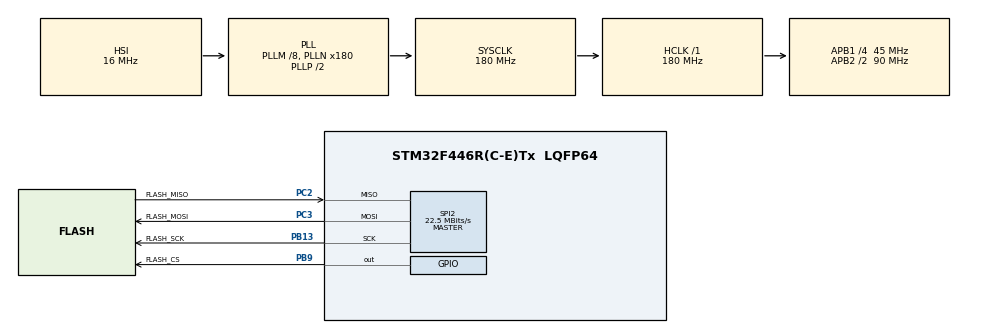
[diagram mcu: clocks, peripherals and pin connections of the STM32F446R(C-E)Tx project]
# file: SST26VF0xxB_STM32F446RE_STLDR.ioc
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Mcu.Family=STM32F4
Mcu.Name=STM32F446R(C-E)Tx
Mcu.Package=LQFP64
NVIC.PriorityGroup=NVIC_PRIORITYGROUP_0
PA13.GPIO_Label=SWDIO
PA13.Mode=Serial_Wire
PA13.Signal=SYS_JTMS-SWDIO
PA14.GPIO_Label=SWCLK
PA14.Mode=Serial_Wire
PA14.Signal=SYS_JTCK-SWCLK
PB13.GPIO_Label=FLASH_SCK
PB13.GPIO_PuPd=GPIO_PULLDOWN
PB13.Mode=Full_Duplex_Master
PB13.Signal=SPI2_SCK
PB9.GPIO_Label=FLASH_CS
PB9.GPIO_Speed=GPIO_SPEED_FREQ_VERY_HIGH
PB9.PinState=GPIO_PIN_SET
PB9.Signal=GPIO_Output
PC2.GPIO_Label=FLASH_MISO
PC2.GPIO_PuPd=GPIO_PULLDOWN
PC2.Mode=Full_Duplex_Master
PC2.Signal=SPI2_MISO
PC3.GPIO_Label=FLASH_MOSI
PC3.GPIO_PuPd=GPIO_PULLDOWN
PC3.Mode=Full_Duplex_Master
PC3.Signal=SPI2_MOSI
ProjectManager.HeapSize=0x200
ProjectManager.StackSize=0x400
ProjectManager.TargetToolchain=STM32CubeIDE
RCC.AHBFreq_Value=180000000
RCC.APB1CLKDivider=RCC_HCLK_DIV4
RCC.APB1Freq_Value=45000000
RCC.APB1TimFreq_Value=90000000
RCC.APB2CLKDivider=RCC_HCLK_DIV2
RCC.APB2Freq_Value=90000000
RCC.APB2TimFreq_Value=180000000
RCC.CortexFreq_Value=180000000
RCC.FLatency-AdvancedSettings=FLASH_LATENCY_5
RCC.HCLKFreq_Value=180000000
RCC.HSE_VALUE=8000000
RCC.HSI_VALUE=16000000
RCC.LSE_VALUE=32768
RCC.PLLM=8
RCC.PLLN=180
RCC.SYSCLKFreq_VALUE=180000000
RCC.SYSCLKSource=RCC_SYSCLKSOURCE_PLLCLK
RCC.USBFreq_Value=180000000
RCC.VCOOutputFreq_Value=360000000
SPI2.BaudRatePrescaler=SPI_BAUDRATEPRESCALER_2
SPI2.CalculateBaudRate=22.5 MBits/s
SPI2.Direction=SPI_DIRECTION_2LINES
SPI2.Mode=SPI_MODE_MASTER
SPI2.VirtualType=VM_MASTER
board=NUCLEO-F446RE

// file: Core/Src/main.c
/* USER CODE BEGIN Header */
/**
  ******************************************************************************
  * @file           : main.c
  * @brief          : Main program body
  ******************************************************************************
  * @attention
  *
  * <h2><center>&copy; Copyright (c) 2020 STMicroelectronics.
  * All rights reserved.</center></h2>
  *
  * This software component is licensed by ST under BSD 3-Clause license,
  * the "License"; You may not use this file except in compliance with the
  * License. You may obtain a copy of the License at:
  *                        opensource.org/licenses/BSD-3-Clause
  *
  ******************************************************************************
  * Ref. to https://github.com/STMicroelectronics/stm32-external-loader
  * Ref. to https://www.st.com/content/st_com/en/support/learning/stm32-education/stm32-moocs/external_QSPI_loader.html
  * Ref. to https://github.com/STMicroelectronics/stm32-external-loader/tree/contrib
  */
/* USER CODE END Header */
#include "main.h"
#include "spi.h"
#include "gpio.h"

/* USER CODE BEGIN Includes */
#include <string.h>
#include "SST26.h"
//#include "../SST26VF0xxB_SPI/SST26.h"
/* USER CODE END Includes */

/* USER CODE BEGIN PV */
extern unsigned char image_test[57600];

uint8_t sector_data[sFLASH_SPI_SECTOR_SIZE];
uint32_t errorCount;
/* USER CODE END PV */

void SystemClock_Config(void);

/* USER CODE BEGIN 0 */
int	my_memcmp(void *dest, void *src, int size)
{
    unsigned char *p = dest;
    unsigned char *q = src;

    while (size > 0)
    {
        if (*p != *q)
        {
            return (*p - *q);
        }
        size--;
        p++;
        q++;
    }
    return 0;
}
/* USER CODE END 0 */

int main(void)
{
  /* USER CODE BEGIN 1 */
  uint32_t sectorsNeeded = 0;
  uint32_t currentSector = 0;
  uint32_t remainingBytes = 0;
  /* USER CODE END 1 */

  /* MCU Configuration--------------------------------------------------------*/

  /* Reset of all peripherals, Initializes the Flash interface and the Systick. */
  HAL_Init();

  /* Configure the system clock */
  SystemClock_Config();

  /* Initialize all configured peripherals */
  MX_GPIO_Init();
  MX_SPI2_Init();
  /* USER CODE BEGIN 2 */

  /*
   * In this part the flash management primitives is verified
   */
  /* 1 - Verify that the identifier is correctly read
  if(sFLASH_MX25L6433F_ID != sFLASH_ReadID())
  {
    Error_Handler();
  } */

  if (!sFLASH_ReadID()) while(1);

	uint8_t rxData[20];

   sFLASH_ReadBlockProtection(rxData);

   sFLASH_GlobalBlockProtectionUnlock();

   sFLASH_ReadBlockProtection(rxData);

  /* 2 - determines how many sectors are needed to write the test image */
  sectorsNeeded = sizeof(image_test) / sFLASH_SPI_SECTOR_SIZE;
  remainingBytes = (sizeof(image_test) % sFLASH_SPI_SECTOR_SIZE);

  /* 3 - erases and writes the needed sectors */
  for (currentSector = 0; currentSector < sectorsNeeded; currentSector++)
  {
    /* 3.1 - erases current sector */
  	sFLASH_EraseSector(currentSector * sFLASH_SPI_SECTOR_SIZE);
  	/* 3.2 - writes current sector */
  	sFLASH_WriteBuffer(&image_test[currentSector * sFLASH_SPI_SECTOR_SIZE], currentSector * sFLASH_SPI_SECTOR_SIZE, sFLASH_SPI_SECTOR_SIZE);
  }
  if(remainingBytes != 0)
  {
  	/* 3.3 - erases last sector for the remaining bytes */
  	sFLASH_EraseSector(currentSector * sFLASH_SPI_SECTOR_SIZE);
  	/* 3.4 - writes for the remaining bytes */
  	sFLASH_WriteBuffer(&image_test[currentSector * sFLASH_SPI_SECTOR_SIZE], currentSector * sFLASH_SPI_SECTOR_SIZE, remainingBytes);
  }

    /* 4 - reads and checks the selected sectors */
  for (currentSector = 0; currentSector < sectorsNeeded; currentSector++)
  {
  	/* 4.1 - reads current sector */
  	sFLASH_ReadBuffer(sector_data, currentSector * sFLASH_SPI_SECTOR_SIZE, sFLASH_SPI_SECTOR_SIZE);
  	/* 4.2 - checks current sector */
  	if(my_memcmp((void *)sector_data, (void *)&image_test[currentSector * sFLASH_SPI_SECTOR_SIZE], sFLASH_SPI_SECTOR_SIZE) != 0)
  	//if(memcmp(buffer_read, buffer_test, sFLASH_SPI_SECTOR_SIZE) != 0)
  	{
  		Error_Handler();
  	}
  }
  if(remainingBytes != 0)
  {
    /* 4.3 - reads current sector */
  	sFLASH_ReadBuffer(sector_data, currentSector * sFLASH_SPI_SECTOR_SIZE, remainingBytes);
  	/* 4.4 - checks current sector */
  	if(my_memcmp((void *)sector_data, (void *)&image_test[currentSector * sFLASH_SPI_SECTOR_SIZE], remainingBytes) != 0)
  	{
      Error_Handler();
  	}
  }
  /* USER CODE END 2 */

  /* Infinite loop */
  while (1)
  {

  }
}

void SystemClock_Config(void)
{
  RCC_OscInitTypeDef RCC_OscInitStruct = {0};
  RCC_ClkInitTypeDef RCC_ClkInitStruct = {0};

  /** Configure the main internal regulator output voltage
  */
  __HAL_RCC_PWR_CLK_ENABLE();
  __HAL_PWR_VOLTAGESCALING_CONFIG(PWR_REGULATOR_VOLTAGE_SCALE1);
  /** Initializes the RCC Oscillators according to the specified parameters
  * in the RCC_OscInitTypeDef structure.
  */
  RCC_OscInitStruct.OscillatorType = RCC_OSCILLATORTYPE_HSI;
  RCC_OscInitStruct.HSIState = RCC_HSI_ON;
  RCC_OscInitStruct.HSICalibrationValue = RCC_HSICALIBRATION_DEFAULT;
  RCC_OscInitStruct.PLL.PLLState = RCC_PLL_ON;
  RCC_OscInitStruct.PLL.PLLSource = RCC_PLLSOURCE_HSI;
  RCC_OscInitStruct.PLL.PLLM = 8;
  RCC_OscInitStruct.PLL.PLLN = 180;
  RCC_OscInitStruct.PLL.PLLP = RCC_PLLP_DIV2;
  RCC_OscInitStruct.PLL.PLLQ = 2;
  RCC_OscInitStruct.PLL.PLLR = 2;
  if (HAL_RCC_OscConfig(&RCC_OscInitStruct) != HAL_OK)
  {
    Error_Handler();
  }
  /** Activate the Over-Drive mode
  */
  if (HAL_PWREx_EnableOverDrive() != HAL_OK)
  {
    Error_Handler();
  }
  /** Initializes the CPU, AHB and APB buses clocks
  */
  RCC_ClkInitStruct.ClockType = RCC_CLOCKTYPE_HCLK|RCC_CLOCKTYPE_SYSCLK
                              |RCC_CLOCKTYPE_PCLK1|RCC_CLOCKTYPE_PCLK2;
  RCC_ClkInitStruct.SYSCLKSource = RCC_SYSCLKSOURCE_PLLCLK;
  RCC_ClkInitStruct.AHBCLKDivider = RCC_SYSCLK_DIV1;
  RCC_ClkInitStruct.APB1CLKDivider = RCC_HCLK_DIV4;
  RCC_ClkInitStruct.APB2CLKDivider = RCC_HCLK_DIV2;

  if (HAL_RCC_ClockConfig(&RCC_ClkInitStruct, FLASH_LATENCY_5) != HAL_OK)
  {
    Error_Handler();
  }
}

void Error_Handler(void)
{
  /* USER CODE BEGIN Error_Handler_Debug */
  /* User can add his own implementation to report the HAL error return state */
	while(1);
  /* USER CODE END Error_Handler_Debug */
}

/************************ (C) COPYRIGHT STMicroelectronics *****END OF FILE****/
